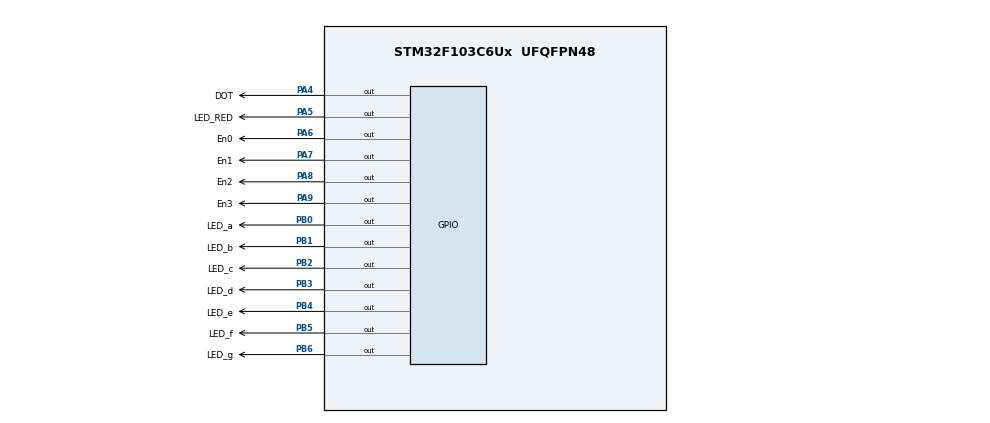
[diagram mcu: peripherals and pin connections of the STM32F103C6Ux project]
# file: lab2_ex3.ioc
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Mcu.Family=STM32F1
Mcu.Name=STM32F103C6Ux
Mcu.Package=UFQFPN48
NVIC.PriorityGroup=NVIC_PRIORITYGROUP_4
NVIC.TIM2_IRQn=true\:0\:0\:false\:false\:true\:true\:true\:true
PA4.GPIO_Label=DOT
PA4.Signal=GPIO_Output
PA5.GPIO_Label=LED_RED
PA5.Signal=GPIO_Output
PA6.GPIO_Label=En0
PA6.Signal=GPIO_Output
PA7.GPIO_Label=En1
PA7.Signal=GPIO_Output
PA8.GPIO_Label=En2
PA8.Signal=GPIO_Output
PA9.GPIO_Label=En3
PA9.Signal=GPIO_Output
PB0.GPIO_Label=LED_a
PB0.Signal=GPIO_Output
PB1.GPIO_Label=LED_b
PB1.Signal=GPIO_Output
PB2.GPIO_Label=LED_c
PB2.Signal=GPIO_Output
PB3.GPIO_Label=LED_d
PB3.Signal=GPIO_Output
PB4.GPIO_Label=LED_e
PB4.Signal=GPIO_Output
PB5.GPIO_Label=LED_f
PB5.Signal=GPIO_Output
PB6.GPIO_Label=LED_g
PB6.Signal=GPIO_Output
ProjectManager.HeapSize=0x200
ProjectManager.StackSize=0x400
ProjectManager.TargetToolchain=STM32CubeIDE
RCC.APB1Freq_Value=8000000
RCC.APB2Freq_Value=8000000
TIM2.Period=9
TIM2.Prescaler=7999
VP_SYS_VS_ND.Mode=No_Debug
VP_TIM2_VS_ClockSourceINT.Mode=Internal
board=custom

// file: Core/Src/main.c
/* USER CODE BEGIN Header */
/**
  ******************************************************************************
  * @file           : main.c
  * @brief          : Main program body
  ******************************************************************************
  * @attention
  *
  * Copyright (c) 2025 STMicroelectronics.
  * All rights reserved.
  *
  * This software is licensed under terms that can be found in the LICENSE file
  * in the root directory of this software component.
  * If no LICENSE file comes with this software, it is provided AS-IS.
  *
  ******************************************************************************
  */
/* USER CODE END Header */
#include "main.h"

TIM_HandleTypeDef htim2;

void SystemClock_Config(void);
static void MX_GPIO_Init(void);
static void MX_TIM2_Init(void);

/* USER CODE BEGIN 0 */

void clear7SEG() {
    HAL_GPIO_WritePin(LED_a_GPIO_Port, LED_a_Pin, GPIO_PIN_SET);
    HAL_GPIO_WritePin(LED_b_GPIO_Port, LED_b_Pin, GPIO_PIN_SET);
    HAL_GPIO_WritePin(LED_c_GPIO_Port, LED_c_Pin, GPIO_PIN_SET);
    HAL_GPIO_WritePin(LED_d_GPIO_Port, LED_d_Pin, GPIO_PIN_SET);
    HAL_GPIO_WritePin(LED_e_GPIO_Port, LED_e_Pin, GPIO_PIN_SET);
    HAL_GPIO_WritePin(LED_f_GPIO_Port, LED_f_Pin, GPIO_PIN_SET);
    HAL_GPIO_WritePin(LED_g_GPIO_Port, LED_g_Pin, GPIO_PIN_SET);
}

void display7SEG(int num){
	  // common anode => set = off; reset= on
	  clear7SEG();
	  switch(num){
	  case 0:
		  HAL_GPIO_WritePin(LED_g_GPIO_Port, LED_g_Pin, SET);

		  HAL_GPIO_WritePin(LED_a_GPIO_Port, LED_a_Pin, RESET);
		  HAL_GPIO_WritePin(LED_b_GPIO_Port, LED_b_Pin, RESET);
		  HAL_GPIO_WritePin(LED_c_GPIO_Port, LED_c_Pin, RESET);
		  HAL_GPIO_WritePin(LED_d_GPIO_Port, LED_d_Pin, RESET);
		  HAL_GPIO_WritePin(LED_e_GPIO_Port, LED_e_Pin, RESET);
		  HAL_GPIO_WritePin(LED_f_GPIO_Port, LED_f_Pin, RESET);
		  break;

	  case 1:
		  HAL_GPIO_WritePin(LED_a_GPIO_Port, LED_a_Pin, SET);
		  HAL_GPIO_WritePin(LED_f_GPIO_Port, LED_f_Pin, SET);
		  HAL_GPIO_WritePin(LED_e_GPIO_Port, LED_e_Pin, SET);
		  HAL_GPIO_WritePin(LED_d_GPIO_Port, LED_d_Pin, SET);

		  HAL_GPIO_WritePin(LED_b_GPIO_Port, LED_b_Pin, RESET);
		  HAL_GPIO_WritePin(LED_c_GPIO_Port, LED_c_Pin, RESET);
		  break;
     case 2: // a b d e g sang
         HAL_GPIO_WritePin(LED_a_GPIO_Port, LED_a_Pin, GPIO_PIN_RESET);
         HAL_GPIO_WritePin(LED_b_GPIO_Port, LED_b_Pin, GPIO_PIN_RESET);
         HAL_GPIO_WritePin(LED_c_GPIO_Port, LED_c_Pin, GPIO_PIN_SET);
         HAL_GPIO_WritePin(LED_d_GPIO_Port, LED_d_Pin, GPIO_PIN_RESET);
         HAL_GPIO_WritePin(LED_e_GPIO_Port, LED_e_Pin, GPIO_PIN_RESET);
         HAL_GPIO_WritePin(LED_f_GPIO_Port, LED_f_Pin, GPIO_PIN_SET);
         HAL_GPIO_WritePin(LED_g_GPIO_Port, LED_g_Pin, GPIO_PIN_RESET);
         break;
     case 3: // a b c d g sang
         HAL_GPIO_WritePin(LED_a_GPIO_Port, LED_a_Pin, GPIO_PIN_RESET);
         HAL_GPIO_WritePin(LED_b_GPIO_Port, LED_b_Pin, GPIO_PIN_RESET);
         HAL_GPIO_WritePin(LED_c_GPIO_Port, LED_c_Pin, GPIO_PIN_RESET);
         HAL_GPIO_WritePin(LED_d_GPIO_Port, LED_d_Pin, GPIO_PIN_RESET);
         HAL_GPIO_WritePin(LED_e_GPIO_Port, LED_e_Pin, GPIO_PIN_SET);
         HAL_GPIO_WritePin(LED_f_GPIO_Port, LED_f_Pin, GPIO_PIN_SET);
         HAL_GPIO_WritePin(LED_g_GPIO_Port, LED_g_Pin, GPIO_PIN_RESET);
         break;

     case 4: // b c f g sang
         HAL_GPIO_WritePin(LED_a_GPIO_Port, LED_a_Pin, GPIO_PIN_SET);
         HAL_GPIO_WritePin(LED_b_GPIO_Port, LED_b_Pin, GPIO_PIN_RESET);
         HAL_GPIO_WritePin(LED_c_GPIO_Port, LED_c_Pin, GPIO_PIN_RESET);
         HAL_GPIO_WritePin(LED_d_GPIO_Port, LED_d_Pin, GPIO_PIN_SET);
         HAL_GPIO_WritePin(LED_e_GPIO_Port, LED_e_Pin, GPIO_PIN_SET);
         HAL_GPIO_WritePin(LED_f_GPIO_Port, LED_f_Pin, GPIO_PIN_RESET);
         HAL_GPIO_WritePin(LED_g_GPIO_Port, LED_g_Pin, GPIO_PIN_RESET);
         break;

     case 5: // a c d f g sang
         HAL_GPIO_WritePin(LED_a_GPIO_Port, LED_a_Pin, GPIO_PIN_RESET);
         HAL_GPIO_WritePin(LED_b_GPIO_Port, LED_b_Pin, GPIO_PIN_SET);
         HAL_GPIO_WritePin(LED_c_GPIO_Port, LED_c_Pin, GPIO_PIN_RESET);
         HAL_GPIO_WritePin(LED_d_GPIO_Port, LED_d_Pin, GPIO_PIN_RESET);
         HAL_GPIO_WritePin(LED_e_GPIO_Port, LED_e_Pin, GPIO_PIN_SET);
         HAL_GPIO_WritePin(LED_f_GPIO_Port, LED_f_Pin, GPIO_PIN_RESET);
         HAL_GPIO_WritePin(LED_g_GPIO_Port, LED_g_Pin, GPIO_PIN_RESET);
         break;

     case 6: // a c d e f g sang
         HAL_GPIO_WritePin(LED_a_GPIO_Port, LED_a_Pin, GPIO_PIN_RESET);
         HAL_GPIO_WritePin(LED_b_GPIO_Port, LED_b_Pin, GPIO_PIN_SET);
         HAL_GPIO_WritePin(LED_c_GPIO_Port, LED_c_Pin, GPIO_PIN_RESET);
         HAL_GPIO_WritePin(LED_d_GPIO_Port, LED_d_Pin, GPIO_PIN_RESET);
         HAL_GPIO_WritePin(LED_e_GPIO_Port, LED_e_Pin, GPIO_PIN_RESET);
         HAL_GPIO_WritePin(LED_f_GPIO_Port, LED_f_Pin, GPIO_PIN_RESET);
         HAL_GPIO_WritePin(LED_g_GPIO_Port, LED_g_Pin, GPIO_PIN_RESET);
         break;

     case 7: // a b c sang
         HAL_GPIO_WritePin(LED_a_GPIO_Port, LED_a_Pin, GPIO_PIN_RESET);
         HAL_GPIO_WritePin(LED_b_GPIO_Port, LED_b_Pin, GPIO_PIN_RESET);
         HAL_GPIO_WritePin(LED_c_GPIO_Port, LED_c_Pin, GPIO_PIN_RESET);
         HAL_GPIO_WritePin(LED_d_GPIO_Port, LED_d_Pin, GPIO_PIN_SET);
         HAL_GPIO_WritePin(LED_e_GPIO_Port, LED_e_Pin, GPIO_PIN_SET);
         HAL_GPIO_WritePin(LED_f_GPIO_Port, LED_f_Pin, GPIO_PIN_SET);
         HAL_GPIO_WritePin(LED_g_GPIO_Port, LED_g_Pin, GPIO_PIN_SET);
         break;

     case 8: // all
         HAL_GPIO_WritePin(LED_a_GPIO_Port, LED_a_Pin, GPIO_PIN_RESET);
         HAL_GPIO_WritePin(LED_b_GPIO_Port, LED_b_Pin, GPIO_PIN_RESET);
         HAL_GPIO_WritePin(LED_c_GPIO_Port, LED_c_Pin, GPIO_PIN_RESET);
         HAL_GPIO_WritePin(LED_d_GPIO_Port, LED_d_Pin, GPIO_PIN_RESET);
         HAL_GPIO_WritePin(LED_e_GPIO_Port, LED_e_Pin, GPIO_PIN_RESET);
         HAL_GPIO_WritePin(LED_f_GPIO_Port, LED_f_Pin, GPIO_PIN_RESET);
         HAL_GPIO_WritePin(LED_g_GPIO_Port, LED_g_Pin, GPIO_PIN_RESET);
         break;

     case 9: // a b c d f g sang
         HAL_GPIO_WritePin(LED_a_GPIO_Port, LED_a_Pin, GPIO_PIN_RESET);
         HAL_GPIO_WritePin(LED_b_GPIO_Port, LED_b_Pin, GPIO_PIN_RESET);
         HAL_GPIO_WritePin(LED_c_GPIO_Port, LED_c_Pin, GPIO_PIN_RESET);
         HAL_GPIO_WritePin(LED_d_GPIO_Port, LED_d_Pin, GPIO_PIN_RESET);
         HAL_GPIO_WritePin(LED_e_GPIO_Port, LED_e_Pin, GPIO_PIN_SET);
         HAL_GPIO_WritePin(LED_f_GPIO_Port, LED_f_Pin, GPIO_PIN_RESET);
         HAL_GPIO_WritePin(LED_g_GPIO_Port, LED_g_Pin, GPIO_PIN_RESET);
         break;
	  }
 }

void initState() {
	display7SEG(8);
	HAL_Delay(2000);
	clear7SEG();
	HAL_GPIO_WritePin(GPIOA, GPIO_PIN_All, GPIO_PIN_SET);
	HAL_Delay(1000);
}

const unsigned int MAX_LED = 4;
int led_buffer[4];
void update7SEG ( int index ){
	switch (index) {
		case 0:
			display7SEG(led_buffer[0]);
			HAL_GPIO_WritePin(En0_GPIO_Port, En0_Pin, GPIO_PIN_RESET);
			HAL_GPIO_WritePin(En1_GPIO_Port, En1_Pin, GPIO_PIN_SET);
			HAL_GPIO_WritePin(En2_GPIO_Port, En2_Pin, GPIO_PIN_SET);
			HAL_GPIO_WritePin(En3_GPIO_Port, En3_Pin, GPIO_PIN_SET);
			break;
		case 1:
			display7SEG(led_buffer[1]);
			HAL_GPIO_WritePin(En0_GPIO_Port, En0_Pin, GPIO_PIN_SET);
			HAL_GPIO_WritePin(En1_GPIO_Port, En1_Pin, GPIO_PIN_RESET);
			HAL_GPIO_WritePin(En2_GPIO_Port, En2_Pin, GPIO_PIN_SET);
			HAL_GPIO_WritePin(En3_GPIO_Port, En3_Pin, GPIO_PIN_SET);
			break;
		case 2:
			display7SEG(led_buffer[2]);
			HAL_GPIO_WritePin(En0_GPIO_Port, En0_Pin, GPIO_PIN_SET);
			HAL_GPIO_WritePin(En1_GPIO_Port, En1_Pin, GPIO_PIN_SET);
			HAL_GPIO_WritePin(En2_GPIO_Port, En2_Pin, GPIO_PIN_RESET);
			HAL_GPIO_WritePin(En3_GPIO_Port, En3_Pin, GPIO_PIN_SET);
			break;
		case 3:
			display7SEG(led_buffer[3]);
			HAL_GPIO_WritePin(En0_GPIO_Port, En0_Pin, GPIO_PIN_SET);
			HAL_GPIO_WritePin(En1_GPIO_Port, En1_Pin, GPIO_PIN_SET);
			HAL_GPIO_WritePin(En2_GPIO_Port, En2_Pin, GPIO_PIN_SET);
			HAL_GPIO_WritePin(En3_GPIO_Port, En3_Pin, GPIO_PIN_RESET);
			break;
		default:
			HAL_GPIO_WritePin(En0_GPIO_Port, En0_Pin, GPIO_PIN_RESET);
			HAL_GPIO_WritePin(En1_GPIO_Port, En1_Pin, GPIO_PIN_RESET);
			HAL_GPIO_WritePin(En2_GPIO_Port, En2_Pin, GPIO_PIN_RESET);
			HAL_GPIO_WritePin(En3_GPIO_Port, En3_Pin, GPIO_PIN_RESET);
			break;
	}
}
int hour = 12, minute = 34, second = 0;
void updateClockBuffer() {
	led_buffer[0] = hour / 10;
	led_buffer[1] = hour % 10;
	led_buffer[2] = minute / 10;
	led_buffer[3] = minute % 10;
}

void setNumberOnClock(int num) {
  if (num >= 1 && num <= 12) HAL_GPIO_WritePin(GPIOA, GPIO_PIN_0 << num, GPIO_PIN_RESET);
  else return;
}

void clearNumberOnClock(int num) {
  if (num >= 1 && num <= 12) HAL_GPIO_WritePin(GPIOA, GPIO_PIN_0 << num, GPIO_PIN_SET);
  else return;
}
/* USER CODE END 0 */

int main(void)
{

  /* MCU Configuration--------------------------------------------------------*/

  /* Reset of all peripherals, Initializes the Flash interface and the Systick. */
  HAL_Init();

  /* Configure the system clock */
  SystemClock_Config();

  /* Initialize all configured peripherals */
  MX_GPIO_Init();
  MX_TIM2_Init();
  /* USER CODE BEGIN 2 */
  HAL_TIM_Base_Start_IT(&htim2);
  /* USER CODE END 2 */

  /* Infinite loop */
  while (1)
  {

    /* USER CODE BEGIN 3 */
	  HAL_GPIO_TogglePin(LED_RED_GPIO_Port, LED_RED_Pin);
	  HAL_Delay(1000);
  }
  /* USER CODE END 3 */

}

void SystemClock_Config(void)
{
  RCC_OscInitTypeDef RCC_OscInitStruct = {0};
  RCC_ClkInitTypeDef RCC_ClkInitStruct = {0};

  /** Initializes the RCC Oscillators according to the specified parameters
  * in the RCC_OscInitTypeDef structure.
  */
  RCC_OscInitStruct.OscillatorType = RCC_OSCILLATORTYPE_HSI;
  RCC_OscInitStruct.HSIState = RCC_HSI_ON;
  RCC_OscInitStruct.HSICalibrationValue = RCC_HSICALIBRATION_DEFAULT;
  RCC_OscInitStruct.PLL.PLLState = RCC_PLL_NONE;
  if (HAL_RCC_OscConfig(&RCC_OscInitStruct) != HAL_OK)
  {
    Error_Handler();
  }

  /** Initializes the CPU, AHB and APB buses clocks
  */
  RCC_ClkInitStruct.ClockType = RCC_CLOCKTYPE_HCLK|RCC_CLOCKTYPE_SYSCLK
                              |RCC_CLOCKTYPE_PCLK1|RCC_CLOCKTYPE_PCLK2;
  RCC_ClkInitStruct.SYSCLKSource = RCC_SYSCLKSOURCE_HSI;
  RCC_ClkInitStruct.AHBCLKDivider = RCC_SYSCLK_DIV1;
  RCC_ClkInitStruct.APB1CLKDivider = RCC_HCLK_DIV1;
  RCC_ClkInitStruct.APB2CLKDivider = RCC_HCLK_DIV1;

  if (HAL_RCC_ClockConfig(&RCC_ClkInitStruct, FLASH_LATENCY_0) != HAL_OK)
  {
    Error_Handler();
  }
}

static void MX_TIM2_Init(void)
{

  TIM_ClockConfigTypeDef sClockSourceConfig = {0};
  TIM_MasterConfigTypeDef sMasterConfig = {0};

  htim2.Instance = TIM2;
  htim2.Init.Prescaler = 7999;
  htim2.Init.CounterMode = TIM_COUNTERMODE_UP;
  htim2.Init.Period = 9;
  htim2.Init.ClockDivision = TIM_CLOCKDIVISION_DIV1;
  htim2.Init.AutoReloadPreload = TIM_AUTORELOAD_PRELOAD_DISABLE;
  if (HAL_TIM_Base_Init(&htim2) != HAL_OK)
  {
    Error_Handler();
  }
  sClockSourceConfig.ClockSource = TIM_CLOCKSOURCE_INTERNAL;
  if (HAL_TIM_ConfigClockSource(&htim2, &sClockSourceConfig) != HAL_OK)
  {
    Error_Handler();
  }
  sMasterConfig.MasterOutputTrigger = TIM_TRGO_RESET;
  sMasterConfig.MasterSlaveMode = TIM_MASTERSLAVEMODE_DISABLE;
  if (HAL_TIMEx_MasterConfigSynchronization(&htim2, &sMasterConfig) != HAL_OK)
  {
    Error_Handler();
  }

}

static void MX_GPIO_Init(void)
{
  GPIO_InitTypeDef GPIO_InitStruct = {0};

  /* GPIO Ports Clock Enable */
  __HAL_RCC_GPIOA_CLK_ENABLE();
  __HAL_RCC_GPIOB_CLK_ENABLE();

  /*Configure GPIO pin Output Level */
  HAL_GPIO_WritePin(GPIOA, DOT_Pin|LED_RED_Pin|En0_Pin|En1_Pin
                          |En2_Pin|En3_Pin, GPIO_PIN_RESET);

  /*Configure GPIO pin Output Level */
  HAL_GPIO_WritePin(GPIOB, LED_a_Pin|LED_b_Pin|LED_c_Pin|LED_d_Pin
                          |LED_e_Pin|LED_f_Pin|LED_g_Pin, GPIO_PIN_RESET);

  /*Configure GPIO pins : DOT_Pin LED_RED_Pin En0_Pin En1_Pin
                           En2_Pin En3_Pin */
  GPIO_InitStruct.Pin = DOT_Pin|LED_RED_Pin|En0_Pin|En1_Pin
                          |En2_Pin|En3_Pin;
  GPIO_InitStruct.Mode = GPIO_MODE_OUTPUT_PP;
  GPIO_InitStruct.Pull = GPIO_NOPULL;
  GPIO_InitStruct.Speed = GPIO_SPEED_FREQ_LOW;
  HAL_GPIO_Init(GPIOA, &GPIO_InitStruct);

  /*Configure GPIO pins : LED_a_Pin LED_b_Pin LED_c_Pin LED_d_Pin
                           LED_e_Pin LED_f_Pin LED_g_Pin */
  GPIO_InitStruct.Pin = LED_a_Pin|LED_b_Pin|LED_c_Pin|LED_d_Pin
                          |LED_e_Pin|LED_f_Pin|LED_g_Pin;
  GPIO_InitStruct.Mode = GPIO_MODE_OUTPUT_PP;
  GPIO_InitStruct.Pull = GPIO_NOPULL;
  GPIO_InitStruct.Speed = GPIO_SPEED_FREQ_LOW;
  HAL_GPIO_Init(GPIOB, &GPIO_InitStruct);

}

/* USER CODE BEGIN 4 */

const unsigned int SCALE = 200; // Switch time * Number of LED / timer (in ms)
int counter = SCALE;
unsigned int index_led = 0;
int tick = 0;

// Ham nay giong nhu while loop nhung 10ms chay 1 lan (dgl Timer)
void HAL_TIM_PeriodElapsedCallback ( TIM_HandleTypeDef * htim )
{
	// Testing
	tick++;
    if (tick > 100 ) {
        HAL_GPIO_TogglePin(DOT_GPIO_Port, DOT_Pin);
        tick =0;
    }
    if (tick >= 1000) {  // Mỗi 1s
        tick = 0;
        second++;
        if (second >= 60) {
            second = 0;
            minute++;
            if (minute >= 60) {
                minute = 0;
                hour++;
                if (hour >= 24) hour = 0;
            }
        }
        updateClockBuffer(); // Cập nhật giá trị mới vào led_buffer
    }
	// Production
	if (counter == SCALE) {
		update7SEG(index_led++);
	} else if(counter == (SCALE*3/4)) {
		update7SEG(index_led++);
	} else if (counter == (SCALE*2/4)) {
		update7SEG(index_led++);
	} else if (counter == (SCALE*1/4)) {
		update7SEG(index_led++);
	}

	if (!(index_led < MAX_LED)) index_led = 0;

	counter = (counter > 0) ? counter-1 : SCALE;
}

/* USER CODE END 4 */

void Error_Handler(void)
{
  __disable_irq();
  while (1)
  {
  }
}
